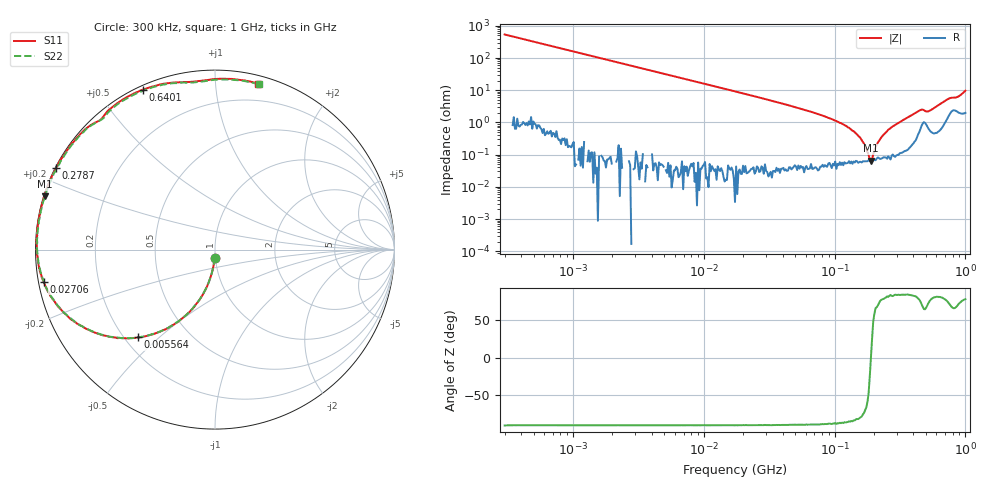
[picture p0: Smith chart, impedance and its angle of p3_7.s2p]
#  HZ  S  RI  R  50
! Rohde & Schwarz ZVA/B
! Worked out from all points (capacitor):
!   401 points, 300 kHz to 1 GHz, reference 50 ohm
!   read as one part in shunt: C = 989 pF near 312.4 kHz
!   lowest |Z| = 64.7 mohm at 189.6 MHz (marker M1)
!   series resonance near 189.4 MHz, so ESL is about 710 pH
!   S11 on the Smith chart (normalised r, x): 300 kHz: 0.99, -0.09; 5.564 MHz: 0.25, -0.43; 27.06 MHz: 0.01, -0.09; 278.7 MHz: 0.00, +0.24; 640.1 MHz: 0.02, +0.65; 1 GHz: 0.06, +1.29
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300000  -0.00168 -0.0462  0.9976 -0.0468  0.998 -0.0471  -0.00194 -0.0455
1167356  -0.032 -0.175  0.968 -0.1769  0.9679 -0.1767  -0.0326 -0.1747
2522766  -0.1334 -0.3381  0.8678 -0.3432  0.8652 -0.3424  -0.1343 -0.3383
4542403  -0.3347 -0.4684  0.6662 -0.4752  0.6643 -0.4755  -0.335 -0.4671
5563622  -0.4298 -0.4888  0.5679 -0.4994  0.5677 -0.4989  -0.4313 -0.489
9051704  -0.6705 -0.4621  0.3304 -0.4762  0.3294 -0.4762  -0.6696 -0.4613
1.732051e7  -0.8874 -0.2989  0.1108 -0.3282  0.1119 -0.3262  -0.8853 -0.2995
2.705945e7  -0.9551 -0.1784  0.0428 -0.2231  0.0426 -0.2226  -0.9549 -0.1781
6.739735e7  -0.993 0.0257  -0.000792 -0.0828  -0.000287 -0.083  -0.9919 0.0281
1.011083e8  -0.9887 0.1171  -0.00296 -0.0451  -0.00346 -0.0447  -0.9854 0.1195
1.343036e8  -0.9775 0.1897  -0.00216 -0.0236  -0.00276 -0.0233  -0.9742 0.1934
1.611953e8  -0.966 0.244  -0.000486 -0.011  -0.000488 -0.011  -0.962 0.2482
1.82052e8  -0.9546 0.2844  0.0017 -0.00339  0.00187 -0.00308  -0.95 0.2885
1.895876e8  -0.9493 0.2979  0.00241 -0.000712  0.00238 -0.000663  -0.9448 0.3032
1.97435e8  -0.947 0.3127  0.00347 0.00202  0.00346 0.00222  -0.9401 0.318
2.229808e8  -0.9291 0.3586  0.00671 0.00947  0.00708 0.00981  -0.9229 0.3648
2.622557e8  -0.8981 0.4279  0.0128 0.0198  0.0132 0.0195  -0.8915 0.4325
2.787062e8  -0.8846 0.4552  0.0162 0.0231  0.0157 0.0228  -0.8759 0.4608
4.443366e8  -0.6858 0.6976  0.0651 0.0411  0.0656 0.0408  -0.6753 0.7001
5.226004e8  -0.5958 0.7747  0.0646 0.0251  0.0651 0.025  -0.5826 0.7767
6.400909e8  -0.4003 0.8919  0.098 0.0277  0.0976 0.0274  -0.3891 0.8913
1e9  0.2398 0.9252  0.1252 -0.055  0.1255 -0.0554  0.2463 0.9216
